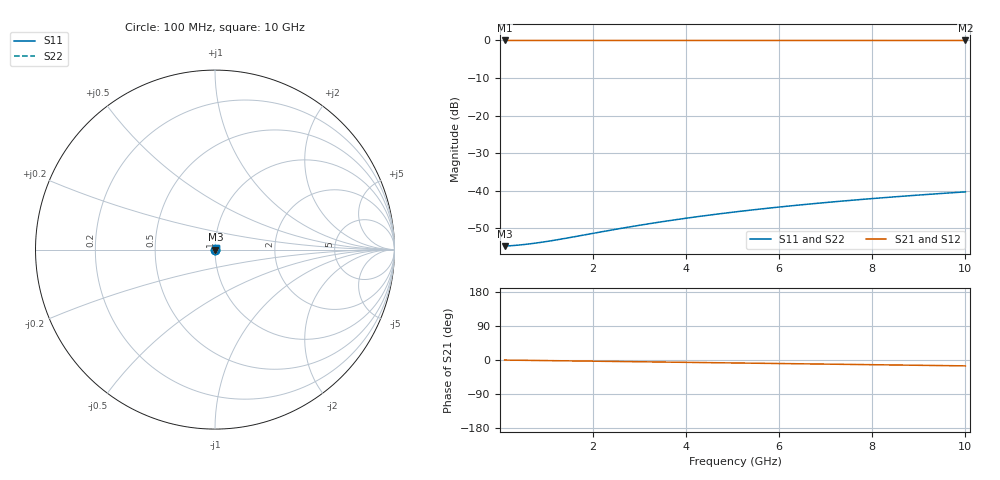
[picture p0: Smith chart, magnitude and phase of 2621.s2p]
# Hz S RI R 50.00
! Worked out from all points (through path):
!   100 points, 100 MHz to 10 GHz, reference 50 ohm
!   highest |S21| = -0.02 dB at 100 MHz (marker M1); lowest = 0.0 dB at 10 GHz (marker M2)
!   group delay of S21, straight-line fit = 4.31 ps
!   lowest |S11| = -54.7 dB at 100 MHz (marker M3), VSWR 1.00, Z = 50.2 + j0.00926 ohm
!   |S11| at or under -10 dB: start of sweep to end of sweep
!   |S22| runs from -54.7 to -40.3 dB; largest |S21 - S12| = 0
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1e8  0.00183 9.22e-05  0.9982 -0.0027  0.9982 -0.0027  0.00183 9.22e-05
3e8  0.00185 0.000277  0.9981 -0.00809  0.9981 -0.00809  0.00185 0.000277
5e8  0.00187 0.000461  0.998 -0.0135  0.998 -0.0135  0.00187 0.000461
8e8  0.00189 0.000736  0.9979 -0.0216  0.9979 -0.0216  0.00189 0.000736
1e9  0.0019 0.00092  0.9977 -0.027  0.9977 -0.027  0.0019 0.00092
1.2e9  0.00192 0.0011  0.9976 -0.0323  0.9976 -0.0323  0.00192 0.0011
1.8e9  0.00198 0.00165  0.9969 -0.0485  0.9969 -0.0485  0.00198 0.00165
2.3e9  0.00203 0.00211  0.9961 -0.062  0.9961 -0.062  0.00203 0.00211
2.7e9  0.00209 0.00247  0.9954 -0.0727  0.9954 -0.0727  0.00209 0.00247
3.1e9  0.00215 0.00283  0.9945 -0.0835  0.9945 -0.0835  0.00215 0.00283
3.4e9  0.00221 0.0031  0.9938 -0.0916  0.9938 -0.0916  0.00221 0.0031
3.8e9  0.00228 0.00345  0.9927 -0.1023  0.9927 -0.1023  0.00228 0.00345
4.2e9  0.00237 0.00381  0.9915 -0.113  0.9915 -0.113  0.00237 0.00381
4.6e9  0.00246 0.00416  0.9902 -0.1238  0.9902 -0.1238  0.00246 0.00416
5.1e9  0.00258 0.0046  0.9885 -0.1371  0.9885 -0.1371  0.00258 0.0046
5.5e9  0.00269 0.00494  0.9869 -0.1478  0.9869 -0.1478  0.00269 0.00494
5.9e9  0.0028 0.00528  0.9852 -0.1585  0.9852 -0.1585  0.0028 0.00528
6.7e9  0.00306 0.00596  0.9815 -0.1798  0.9815 -0.1798  0.00306 0.00596
7.5e9  0.00334 0.00662  0.9774 -0.2011  0.9774 -0.2011  0.00334 0.00662
8.4e9  0.00369 0.00735  0.9721 -0.2249  0.9721 -0.2249  0.00369 0.00735
9.2e9  0.00404 0.00798  0.967 -0.2459  0.967 -0.2459  0.00404 0.00798
1e10  0.00441 0.0086  0.9614 -0.2668  0.9614 -0.2668  0.00441 0.0086
